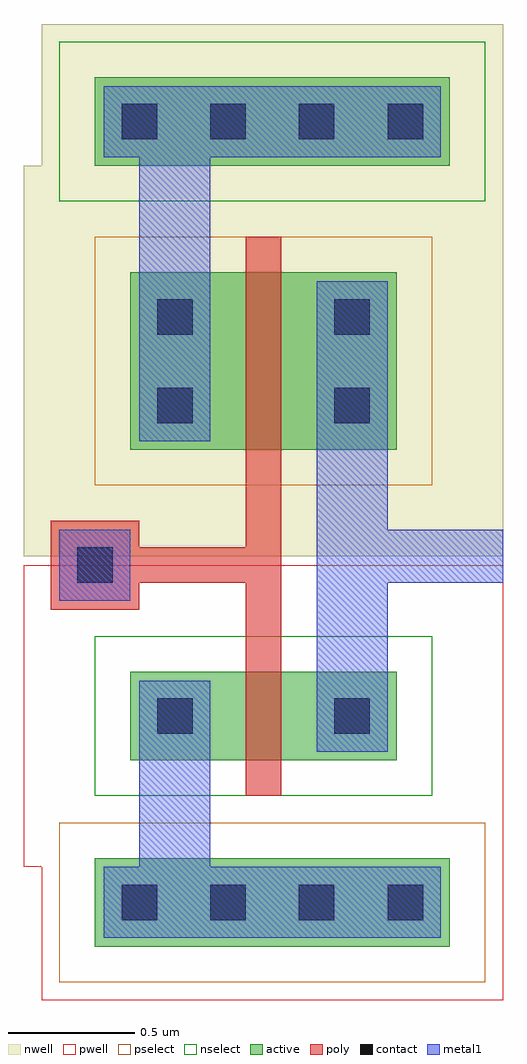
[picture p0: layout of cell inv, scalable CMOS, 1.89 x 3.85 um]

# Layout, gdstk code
import gdstk
lib = gdstk.Library(unit=1e-6, precision=1e-09)
def R(c, l, rs):  # rectangles x0, y0, x1, y1
    for r in rs: c.add(gdstk.rectangle(r[:2], r[2:], *l))
def A(c, l, x, y, w, h, nx, ny, dx, dy):  # array of equal rectangles
    R(c, l, [(x+i*dx, y+j*dy, x+i*dx+w, y+j*dy+h) for i in range(nx) for j in range(ny)])
contact = (25, 0)
pwell = (41, 0)
nwell = (42, 0)
active = (43, 0)
pselect = (44, 0)
nselect = (45, 0)
poly = (46, 0)
metal1 = (49, 0)

inv = lib.new_cell('inv')
A(inv, contact, -1.47, -1.995, 0.14, 0.14, 4, 2, 0.35, 3.08)
R(inv, contact, [(-1.33,-1.26,-1.19,-1.12), (-0.63,-1.26,-0.49,-1.12), (-1.645,-0.665,-1.505,-0.525), (-1.33,-0.035,-1.19,0.105), (-0.63,-0.035,-0.49,0.105), (-1.33,0.315,-1.19,0.455), (-0.63,0.315,-0.49,0.455)])
R(inv, pwell, [(-1.785,-2.31,0.035,-1.54), (-1.855,-1.785,-0.665,-0.595), (-1.61,-1.785,-0.21,-0.595), (-1.155,-1.785,0.035,-0.595), (-1.785,-1.715,-0.647,-0.665), (-1.172,-1.715,-0.035,-0.665)])
R(inv, nwell, [(-1.855,-0.56,-0.665,0.98), (-1.61,-0.56,-0.21,0.98), (-1.155,-0.56,0.035,0.98), (-1.785,-0.21,-0.647,0.84), (-1.172,-0.21,-0.035,0.84), (-1.785,0.77,0.035,1.54)])
R(inv, active, [(-1.575,-2.1,-0.175,-1.75), (-1.435,-1.365,-1.085,-1.015), (-1.19,-1.365,-0.63,-1.015), (-0.735,-1.365,-0.385,-1.015), (-1.365,-1.295,-1.067,-1.085), (-0.752,-1.295,-0.455,-1.085), (-1.435,-0.14,-1.085,0.56), (-1.19,-0.14,-0.63,0.56), (-0.735,-0.14,-0.385,0.56), (-1.365,0.21,-1.067,0.42), (-0.752,0.21,-0.455,0.42), (-1.575,0.98,-0.175,1.33)])
R(inv, pselect, [(-1.715,-2.24,-0.035,-1.61), (-1.575,-0.28,-0.945,0.7), (-1.33,-0.28,-0.49,0.7), (-0.875,-0.28,-0.245,0.7), (-1.505,0.07,-0.927,0.56), (-0.892,0.07,-0.315,0.56)])
R(inv, nselect, [(-1.575,-1.505,-0.945,-0.875), (-1.33,-1.505,-0.49,-0.875), (-0.875,-1.505,-0.245,-0.875), (-1.505,-1.435,-0.927,-0.945), (-0.892,-1.435,-0.315,-0.945), (-1.715,0.84,-0.035,1.47)])
R(inv, poly, [(-0.98,-1.505,-0.84,-0.875), (-0.98,-0.945,-0.84,-0.525), (-1.75,-0.77,-1.4,-0.42), (-1.645,-0.665,-0.84,-0.525), (-0.98,-0.665,-0.84,-0.21), (-0.98,-0.28,-0.84,0.7)])
R(inv, metal1, [(-1.54,-2.065,-0.21,-1.785), (-1.4,-2.065,-1.12,-1.05), (-1.4,-1.33,-1.12,-1.05), (-0.7,-1.33,-0.42,-1.05), (-0.7,-1.33,-0.42,-0.42), (-1.715,-0.735,-1.435,-0.455), (-0.7,-0.7,-0.42,0.455), (-0.665,-0.665,0.035,-0.455), (-1.4,-0.105,-1.12,0.525), (-0.7,-0.105,-0.42,0.525), (-1.4,0.07,-1.12,1.295), (-1.54,1.015,-0.21,1.295)])

lib.write_gds('inv.gds')
